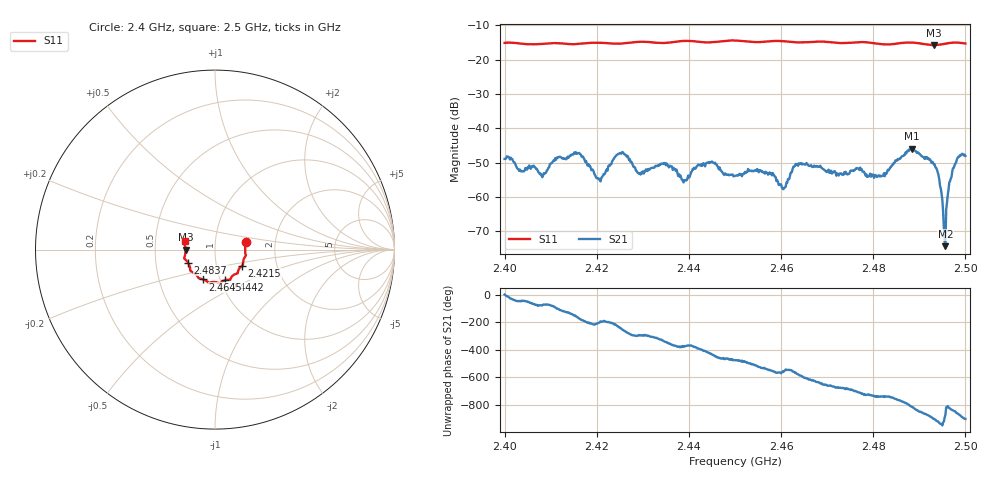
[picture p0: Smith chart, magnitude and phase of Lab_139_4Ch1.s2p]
# Hz S RI R 50
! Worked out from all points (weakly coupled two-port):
!   601 points, 2.4 GHz to 2.5 GHz, reference 50 ohm
!   highest |S21| = -45.93 dB at 2.4883 GHz (marker M1); lowest = -74.4 dB at 2.4957 GHz (marker M2)
!   lowest |S11| = -15.7 dB at 2.4932 GHz (marker M3), VSWR 1.39, Z = 35.9 - j0.0623 ohm
!   |S11| at or under -10 dB: start of sweep to end of sweep
!   S12 and S22 are empty: the file has one direction only
!   S11 on the Smith chart (normalised r, x): 2.4 GHz: 1.41, +0.12; 2.4215 GHz: 1.33, -0.25; 2.4442 GHz: 1.05, -0.37; 2.4645 GHz: 0.83, -0.29; 2.4837 GHz: 0.73, -0.11; 2.5 GHz: 0.71, +0.07
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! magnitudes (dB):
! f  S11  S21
! 2.4 GHz  -15.1  -48.9
! 2.4082 GHz  -15.4  -54.2
! 2.4115 GHz  -15.2  -48.4
! 2.4167 GHz  -15.3  -48.1
! 2.4215 GHz  -15.1  -53.3
! 2.4252 GHz  -15.3  -47.2
! 2.4293 GHz  -14.8  -53.1
! 2.4333 GHz  -15.1  -50.7
! 2.439 GHz  -14.5  -55.1
! 2.4442 GHz  -15.0  -49.9
! 2.45 GHz  -14.4  -53.8
! 2.4553 GHz  -14.9  -52.2
! 2.4605 GHz  -14.6  -57.8
! 2.4645 GHz  -15.0  -50.5
! 2.4667 GHz  -14.8  -51.2
! 2.4833 GHz  -15.6  -52.2
! 2.4837 GHz  -15.5  -51.4
! 2.4883 GHz  -15.0  -45.9
! 2.4932 GHz  -15.7  -50.5
! 2.4957 GHz  -15.3  -74.4
! 2.4973 GHz  -15.0  -51.6
! 2.5 GHz  -15.3  -48.0
